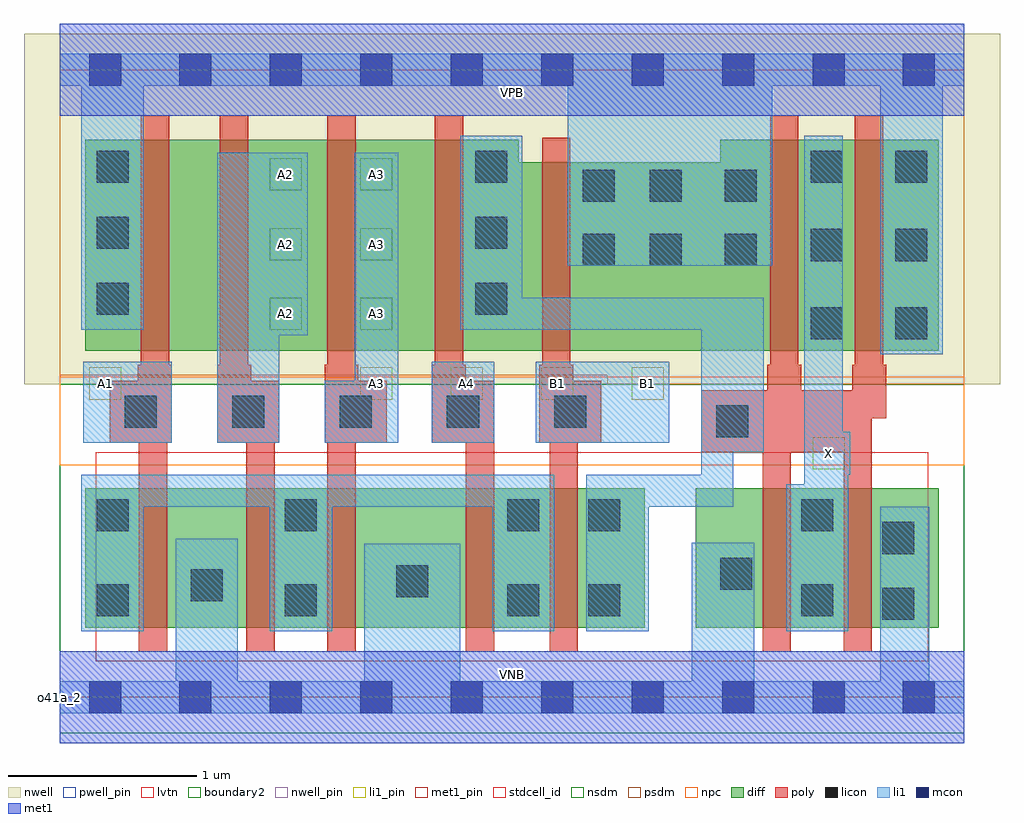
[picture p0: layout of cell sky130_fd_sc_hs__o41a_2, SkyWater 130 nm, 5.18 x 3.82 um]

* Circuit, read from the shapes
.subckt sky130_fd_sc_hs__o41a_2 A1 A2 A3 A4 B1 VGND VNB VPB VPWR X
XM1 VGND A1 n1 VNB sky130_fd_pr__nfet_01v8_lvt w=0.74 l=0.15
XM2 n1 A2 VGND VNB sky130_fd_pr__nfet_01v8_lvt w=0.74 l=0.15
XM3 VGND A3 n1 VNB sky130_fd_pr__nfet_01v8_lvt w=0.74 l=0.15
XM4 n1 A4 VGND VNB sky130_fd_pr__nfet_01v8_lvt w=0.74 l=0.15
XM5 n2 B1 n1 VNB sky130_fd_pr__nfet_01v8_lvt w=0.74 l=0.15
XM6 X n2 VGND VNB sky130_fd_pr__nfet_01v8_lvt w=0.74 l=0.15 m=2
XM7 n3 A1 VPWR VPB sky130_fd_pr__pfet_01v8 w=1.12 l=0.15
XM8 n4 A2 n3 VPB sky130_fd_pr__pfet_01v8 w=1.12 l=0.15
XM9 n5 A3 n4 VPB sky130_fd_pr__pfet_01v8 w=1.12 l=0.15
XM10 n2 A4 n5 VPB sky130_fd_pr__pfet_01v8 w=1.12 l=0.15
XM11 VPWR B1 n2 VPB sky130_fd_pr__pfet_01v8 w=1 l=0.15
XM12 X n2 VPWR VPB sky130_fd_pr__pfet_01v8 w=1.12 l=0.15 m=2
.ends

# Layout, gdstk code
import gdstk
lib = gdstk.Library(unit=1e-6, precision=1e-09)
def R(c, l, rs):  # rectangles x0, y0, x1, y1
    for r in rs: c.add(gdstk.rectangle(r[:2], r[2:], *l))
def A(c, l, x, y, w, h, nx, ny, dx, dy):  # array of equal rectangles
    R(c, l, [(x+i*dx, y+j*dy, x+i*dx+w, y+j*dy+h) for i in range(nx) for j in range(ny)])
def P(c, l, *ps):  # polygons
    for p in ps: c.add(gdstk.Polygon(p, *l))
nwell_pin = (64, 16)
nwell = (64, 20)
diff = (65, 20)
poly = (66, 20)
licon = (66, 44)
li1_pin = (67, 16)
li1 = (67, 20)
mcon = (67, 44)
met1_pin = (68, 16)
met1 = (68, 20)
stdcell_id = (81, 4)
nsdm = (93, 44)
psdm = (94, 20)
npc = (95, 20)
pwell_pin = (122, 16)
lvtn = (125, 44)
boundary2 = (236, 0)

sky130_fd_sc_hs__o41a_2 = lib.new_cell('sky130_fd_sc_hs__o41a_2')
R(sky130_fd_sc_hs__o41a_2, nwell_pin, [(0,3.085,4.8,3.33)])
R(sky130_fd_sc_hs__o41a_2, nwell, [(-0.19,1.66,4.99,3.52)])
R(sky130_fd_sc_hs__o41a_2, diff, [(0.135,0.37,3.105,1.11), (3.375,0.37,4.665,1.11)])
P(sky130_fd_sc_hs__o41a_2, diff, [(4.665,2.96),(3.505,2.96),(3.505,2.84),(2.435,2.84),(2.435,2.96),(0.135,2.96),(0.135,1.84),(4.665,1.84)])
P(sky130_fd_sc_hs__o41a_2, poly, [(4.385,1.765),(4.37,1.765),(4.37,3.09),(4.22,3.09),(4.22,1.765),(4.205,1.765),(4.205,1.63),(3.935,1.63),(3.935,1.765),(3.92,1.765),(3.92,3.09),(3.77,3.09),(3.77,1.765),(3.755,1.765),(3.755,1.63),(3.405,1.63),(3.405,1.3),(3.73,1.3),(3.73,0.24),(3.88,0.24),(3.88,1.3),(4.16,1.3),(4.16,0.24),(4.31,0.24),(4.31,1.48),(4.385,1.48)],
  [(2.875,1.68),(2.725,1.68),(2.725,1.765),(2.71,1.765),(2.71,2.97),(2.56,2.97),(2.56,1.765),(2.545,1.765),(2.545,1.35),(2.6,1.35),(2.6,0.24),(2.75,0.24),(2.75,1.35),(2.875,1.35)],
  [(2.305,1.68),(2.155,1.68),(2.155,1.765),(2.14,1.765),(2.14,3.09),(1.99,3.09),(1.99,1.765),(1.975,1.765),(1.975,1.35),(2.155,1.35),(2.155,0.24),(2.305,0.24)],
  [(1.735,1.68),(1.585,1.68),(1.585,1.765),(1.57,1.765),(1.57,3.09),(1.42,3.09),(1.42,1.765),(1.405,1.765),(1.405,1.35),(1.42,1.35),(1.42,0.24),(1.57,0.24),(1.57,1.35),(1.735,1.35)],
  [(1.165,1.68),(1.015,1.68),(1.015,1.765),(1,1.765),(1,3.09),(0.85,3.09),(0.85,1.765),(0.835,1.765),(0.835,1.35),(0.99,1.35),(0.99,0.24),(1.14,0.24),(1.14,1.35),(1.165,1.35)],
  [(0.595,1.765),(0.58,1.765),(0.58,3.09),(0.43,3.09),(0.43,1.765),(0.415,1.765),(0.415,1.68),(0.265,1.68),(0.265,1.35),(0.42,1.35),(0.42,0.24),(0.57,0.24),(0.57,1.35),(0.595,1.35)])
A(sky130_fd_sc_hs__o41a_2, licon, 0.345, 1.43, 0.17, 0.17, 5, 1, 0.57, 0)
A(sky130_fd_sc_hs__o41a_2, licon, 3.985, 1.9, 0.17, 0.17, 1, 3, 0, 0.415)
A(sky130_fd_sc_hs__o41a_2, licon, 4.435, 1.9, 0.17, 0.17, 1, 3, 0, 0.415)
A(sky130_fd_sc_hs__o41a_2, licon, 0.195, 2.03, 0.17, 0.17, 1, 3, 0, 0.35)
A(sky130_fd_sc_hs__o41a_2, licon, 2.205, 2.03, 0.17, 0.17, 1, 3, 0, 0.35)
R(sky130_fd_sc_hs__o41a_2, licon, [(4.365,0.41,4.535,0.58), (0.195,0.43,0.365,0.6), (1.195,0.43,1.365,0.6), (2.375,0.43,2.545,0.6), (2.805,0.43,2.975,0.6), (3.935,0.43,4.105,0.6), (0.695,0.51,0.865,0.68), (1.785,0.53,1.955,0.7), (3.505,0.57,3.675,0.74), (4.365,0.76,4.535,0.93), (0.195,0.88,0.365,1.05), (1.195,0.88,1.365,1.05), (2.375,0.88,2.545,1.05), (2.805,0.88,2.975,1.05), (3.935,0.88,4.105,1.05), (3.485,1.38,3.655,1.55), (2.775,2.29,2.945,2.46), (3.13,2.29,3.3,2.46), (3.53,2.29,3.7,2.46), (2.775,2.63,2.945,2.8), (3.13,2.63,3.3,2.8), (3.53,2.63,3.7,2.8)])
A(sky130_fd_sc_hs__o41a_2, li1_pin, 1.595, 1.58, 0.17, 0.17, 4, 1, 0.48, 0)
A(sky130_fd_sc_hs__o41a_2, li1_pin, 1.115, 1.95, 0.17, 0.17, 1, 3, 0, 0.37)
A(sky130_fd_sc_hs__o41a_2, li1_pin, 1.595, 1.95, 0.17, 0.17, 1, 3, 0, 0.37)
R(sky130_fd_sc_hs__o41a_2, li1_pin, [(3.995,1.21,4.165,1.38), (0.155,1.58,0.325,1.75)])
R(sky130_fd_sc_hs__o41a_2, li1, [(0.125,1.35,0.595,1.78), (1.975,1.35,2.305,1.78), (2.525,1.35,3.235,1.78)])
P(sky130_fd_sc_hs__o41a_2, li1, [(0,-0.085),(0,0.085),(0.615,0.085),(0.615,0.84),(0.945,0.84),(0.945,0.085),(1.615,0.085),(1.615,0.815),(2.125,0.815),(2.125,0.085),(3.355,0.085),(3.355,0.82),(3.685,0.82),(3.685,0.085),(4.355,0.085),(4.355,1.01),(4.615,1.01),(4.615,0.085),(4.8,0.085),(4.8,-0.085)],
  [(0,3.245),(0,3.415),(4.8,3.415),(4.8,3.245),(4.685,3.245),(4.685,1.82),(4.355,1.82),(4.355,3.245),(3.78,3.245),(3.78,2.29),(2.695,2.29),(2.695,3.245),(0.445,3.245),(0.445,1.95),(0.115,1.95),(0.115,3.245)],
  [(0.835,1.35),(0.835,2.89),(1.315,2.89),(1.315,1.92),(1.165,1.92),(1.165,1.35)],
  [(1.405,1.35),(1.405,1.68),(1.565,1.68),(1.565,2.89),(1.795,2.89),(1.795,1.35)],
  [(3.95,1.13),(3.95,2.98),(4.155,2.98),(4.155,1.41),(4.195,1.41),(4.195,1.18),(4.185,1.18),(4.185,0.35),(3.855,0.35),(3.855,1.13)],
  [(2.455,2.12),(3.735,2.12),(3.735,1.3),(3.575,1.3),(3.575,1.01),(3.125,1.01),(3.125,0.35),(2.795,0.35),(2.795,1.18),(3.405,1.18),(3.405,1.95),(2.125,1.95),(2.125,2.98),(2.455,2.98)],
  [(2.625,1.18),(2.625,0.35),(2.295,0.35),(2.295,1.01),(1.445,1.01),(1.445,0.35),(1.115,0.35),(1.115,1.01),(0.445,1.01),(0.445,0.35),(0.115,0.35),(0.115,1.18)])
A(sky130_fd_sc_hs__o41a_2, mcon, 0.155, -0.085, 0.17, 0.17, 10, 2, 0.48, 3.33)
R(sky130_fd_sc_hs__o41a_2, met1_pin, [(0,0,4.8,0.245), (0,3.085,4.8,3.33)])
R(sky130_fd_sc_hs__o41a_2, met1, [(0,-0.245,4.8,0.245), (0,3.085,4.8,3.575)])
R(sky130_fd_sc_hs__o41a_2, stdcell_id, [(0,0,4.8,3.33)])
R(sky130_fd_sc_hs__o41a_2, nsdm, [(0,-0.19,4.8,1.66)])
P(sky130_fd_sc_hs__o41a_2, psdm, [(4.8,3.52),(0,3.52),(0,1.71),(2.905,1.71),(2.905,1.66),(4.8,1.66)])
R(sky130_fd_sc_hs__o41a_2, npc, [(0,1.23,4.8,1.7)])
R(sky130_fd_sc_hs__o41a_2, pwell_pin, [(0,0,4.8,0.245)])
R(sky130_fd_sc_hs__o41a_2, lvtn, [(0.19,0.19,4.61,1.3)])
R(sky130_fd_sc_hs__o41a_2, boundary2, [(0,0,4.8,3.33)])
sky130_fd_sc_hs__o41a_2.add(gdstk.Label('o41a_2', (0,0), layer=83, texttype=44))
sky130_fd_sc_hs__o41a_2.add(gdstk.Label('VNB', (2.4,0.123), layer=64, texttype=59))
sky130_fd_sc_hs__o41a_2.add(gdstk.Label('VPB', (2.4,3.208), layer=64, texttype=5))
sky130_fd_sc_hs__o41a_2.add(gdstk.Label('VPWR', (2.4,3.208), layer=68, texttype=5))
sky130_fd_sc_hs__o41a_2.add(gdstk.Label('VGND', (2.4,0.123), layer=68, texttype=5))
sky130_fd_sc_hs__o41a_2.add(gdstk.Label('A1', (0.24,1.665), layer=67, texttype=5))
sky130_fd_sc_hs__o41a_2.add(gdstk.Label('A2', (1.2,2.035), layer=67, texttype=5))
sky130_fd_sc_hs__o41a_2.add(gdstk.Label('A2', (1.2,2.405), layer=67, texttype=5))
sky130_fd_sc_hs__o41a_2.add(gdstk.Label('A2', (1.2,2.775), layer=67, texttype=5))
sky130_fd_sc_hs__o41a_2.add(gdstk.Label('A3', (1.68,1.665), layer=67, texttype=5))
sky130_fd_sc_hs__o41a_2.add(gdstk.Label('A3', (1.68,2.035), layer=67, texttype=5))
sky130_fd_sc_hs__o41a_2.add(gdstk.Label('A3', (1.68,2.405), layer=67, texttype=5))
sky130_fd_sc_hs__o41a_2.add(gdstk.Label('A3', (1.68,2.775), layer=67, texttype=5))
sky130_fd_sc_hs__o41a_2.add(gdstk.Label('A4', (2.16,1.665), layer=67, texttype=5))
sky130_fd_sc_hs__o41a_2.add(gdstk.Label('B1', (2.64,1.665), layer=67, texttype=5))
sky130_fd_sc_hs__o41a_2.add(gdstk.Label('B1', (3.12,1.665), layer=67, texttype=5))
sky130_fd_sc_hs__o41a_2.add(gdstk.Label('X', (4.08,1.295), layer=67, texttype=5))

lib.write_gds('sky130_fd_sc_hs__o41a_2.gds')
